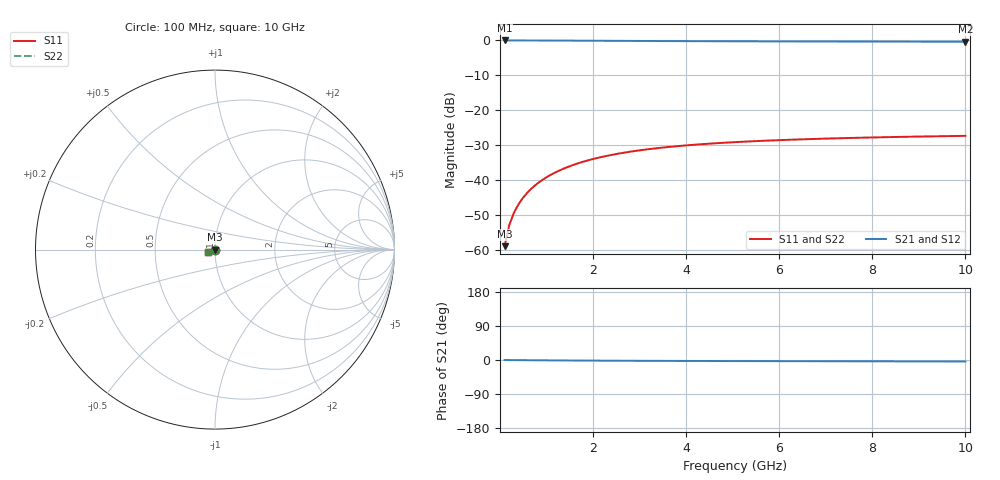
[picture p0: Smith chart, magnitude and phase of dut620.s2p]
! Touchstone file exported from HFSS 2024.1.0
!  File:  C:/UserFiles/LocalFiles/RDL_TSV_Batchsim/temp_TSV1_620_1779789169.aedt
!  Generated:  05:57:39 PM May 26, 2026
!  Design:  TSV1
!  Project:  temp_TSV1_620_1779789169
!  Setup:  Setup1
!  Solution:  Sweep
! Variables:
!  dtsv = 11.95um
!  hbump = 3um
!  htsv = 58.79um
!  lrdl = 252.1521522um
!  p = 40
!  p1 = 42.47um
!  t = 500um
!  trdl = 3um
!  wrdl = 24.89489489um
# GHz S MA R 50.000000
! Terminal data exported
! Port[1] = TSV22_T1
! Port[2] = TSV22_T2
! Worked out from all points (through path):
!   100 points, 100 MHz to 10 GHz, reference 50 ohm
!   highest |S21| = 0.00 dB at 100 MHz (marker M1); lowest = -0.4 dB at 10 GHz (marker M2)
!   lowest |S11| = -59.0 dB at 100 MHz (marker M3), VSWR 1.00, Z = 50 - j0.112 ohm
!   |S11| at or under -10 dB: start of sweep to end of sweep
!   |S22| runs from -59.0 to -27.4 dB; largest |S21 - S12| = 3.2e-15
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0.1  0.001118 -87.1  0.9999 -0.1  0.9999 -0.1  0.001118 -87.1
! Gamma 0 0 0 0
! Port Impedance 50 0 50 0
0.2  0.002246 -90.7  0.9998 -0.2  0.9998 -0.2  0.002246 -90.7
0.3  0.003368 -92.9  0.9996 -0.3  0.9996 -0.3  0.003368 -92.9
0.4  0.004482 -94.8  0.9994 -0.4  0.9994 -0.4  0.004482 -94.8
0.5  0.005585 -96.5  0.9991 -0.5  0.9991 -0.5  0.005585 -96.5
0.6  0.006677 -98.2  0.9988 -0.6  0.9988 -0.6  0.006677 -98.2
0.7  0.007755 -99.7  0.9984 -0.7  0.9984 -0.7  0.007755 -99.7
0.8  0.008818 -101.3  0.998 -0.8  0.998 -0.8  0.008818 -101.3
0.9  0.009863 -102.8  0.9975 -0.8  0.9975 -0.8  0.009862 -102.8
1.1  0.01189 -105.7  0.9965 -1.0  0.9965 -1.0  0.01189 -105.7
1.4  0.01478 -109.8  0.9947 -1.2  0.9947 -1.2  0.01478 -109.8
1.6  0.01658 -112.4  0.9934 -1.4  0.9934 -1.4  0.01658 -112.4
1.8  0.01829 -114.9  0.992 -1.5  0.992 -1.5  0.01829 -114.9
2.1  0.02066 -118.4  0.9899 -1.7  0.9899 -1.7  0.02066 -118.4
2.5  0.02348 -122.7  0.9871 -1.9  0.9871 -1.9  0.02348 -122.7
2.9  0.02595 -126.6  0.9843 -2.1  0.9843 -2.1  0.02595 -126.6
3.4  0.02859 -130.9  0.9811 -2.3  0.9811 -2.3  0.02859 -130.9
4.2  0.03198 -136.7  0.9766 -2.6  0.9766 -2.6  0.03198 -136.7
5.1  0.03489 -142.0  0.9723 -2.8  0.9723 -2.8  0.03489 -142.0
6.7  0.03853 -149.2  0.9666 -3.2  0.9666 -3.2  0.03853 -149.2
8.4  0.04109 -154.9  0.9624 -3.6  0.9624 -3.6  0.04109 -154.9
10  0.04277 -159.1  0.9596 -3.9  0.9596 -3.9  0.04277 -159.1
